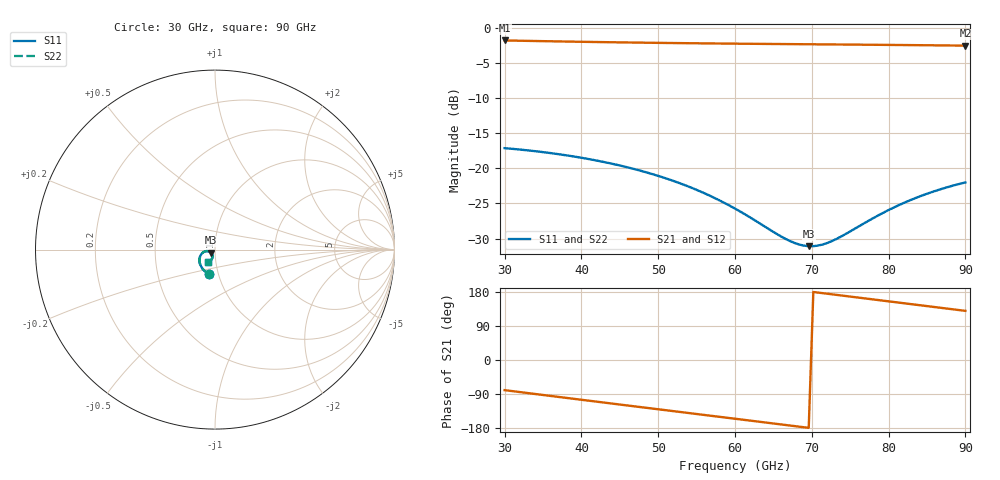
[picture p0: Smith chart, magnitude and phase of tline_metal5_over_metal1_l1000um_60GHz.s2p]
#  GHZ S DB R 50
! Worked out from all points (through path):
!   101 points, 30 GHz to 90 GHz, reference 50 ohm
!   highest |S21| = -1.84 dB at 30 GHz (marker M1); lowest = -2.6 dB at 90 GHz (marker M2)
!   group delay of S21, straight-line fit = 6.97 ps
!   lowest |S11| = -31.1 dB at 69.6 GHz (marker M3), VSWR 1.06, Z = 47.9 - j1.7 ohm
!   |S11| at or under -10 dB: start of sweep to end of sweep
!   |S22| runs from -31.0 to -17.1 dB; largest |S21 - S12| = 0
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30  -17.15 -103.6  -1.84 -79.5  -1.84 -79.5  -17.12 -103.6
32.4  -17.39 -111.0  -1.89 -85.7  -1.89 -85.7  -17.36 -111.0
34.8  -17.69 -118.1  -1.93 -91.8  -1.93 -91.8  -17.65 -118.1
37.2  -18.03 -125.0  -1.98 -97.9  -1.98 -97.9  -18.00 -125.0
40.2  -18.55 -133.3  -2.03 -105.4  -2.03 -105.4  -18.51 -133.2
45  -19.61 -145.6  -2.11 -117.5  -2.11 -117.5  -19.56 -145.5
50.4  -21.23 -157.7  -2.18 -131.0  -2.18 -131.0  -21.17 -157.7
55.2  -23.17 -166.1  -2.24 -143.0  -2.24 -143.0  -23.09 -166.1
57.6  -24.36 -168.9  -2.27 -149.0  -2.27 -149.0  -24.28 -168.9
60  -25.74 -170.2  -2.29 -155.0  -2.29 -155.0  -25.64 -170.1
63.6  -28.10 -167.3  -2.33 -164.0  -2.33 -164.0  -27.98 -167.4
66.6  -30.05 -157.8  -2.35 -171.5  -2.35 -171.5  -29.93 -158.1
68.4  -30.86 -148.1  -2.37 -176.0  -2.37 -176.0  -30.75 -148.7
69.6  -31.08 -140.6  -2.38 -179.1  -2.38 -179.1  -30.99 -141.3
70.2  -31.08 -136.7  -2.38 179.4  -2.38 179.4  -31.00 -137.5
71.4  -30.85 -129.3  -2.39 176.4  -2.39 176.4  -30.79 -130.1
73.2  -30.06 -120.0  -2.41 171.9  -2.41 171.9  -30.04 -120.7
76.8  -27.84 -109.9  -2.44 162.9  -2.44 162.9  -27.85 -110.3
80.4  -25.73 -108.0  -2.47 153.8  -2.47 153.8  -25.74 -108.2
82.8  -24.55 -109.3  -2.50 147.8  -2.50 147.8  -24.56 -109.4
85.2  -23.55 -111.8  -2.52 141.7  -2.52 141.7  -23.56 -111.8
90  -22.02 -118.9  -2.57 129.7  -2.57 129.7  -22.02 -118.8
